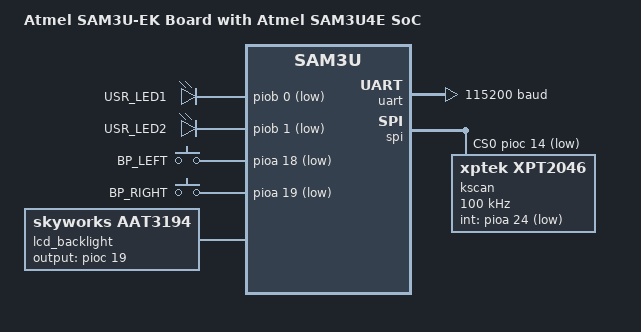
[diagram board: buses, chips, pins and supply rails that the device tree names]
/*
 * Copyright (c) 2023 Chen Xingyu <hi@xingrz.me>
 * SPDX-License-Identifier: Apache-2.0
 */

/dts-v1/;

#include <atmel/sam3u4e.dtsi>
#include "sam3u_ek-pinctrl.dtsi"

/ {
	model = "Atmel SAM3U-EK Board with Atmel SAM3U4E SoC";
	compatible = "atmel,sam3u_ek";

	aliases {
		led0 = &usr_led1;
		led1 = &usr_led2;
		sw0 = &bp_left;
		sw1 = &bp_right;
		lcd-backlight = &lcd_backlight;
	};

	chosen {
		zephyr,console = &uart;
		zephyr,shell-uart = &uart;
		zephyr,sram = &sram0;
		zephyr,flash = &flash0;
		zephyr,keyboard-scan = &kscan;
	};

	leds {
		compatible = "gpio-leds";

		usr_led1: usr_led1 {
			gpios = <&piob 0 GPIO_ACTIVE_LOW>;
			label = "USR_LED1";
		};

		usr_led2: usr_led2 {
			gpios = <&piob 1 GPIO_ACTIVE_LOW>;
			label = "USR_LED2";
		};
	};

	gpio_keys {
		compatible = "gpio-keys";

		bp_left: bp_left {
			gpios = <&pioa 18 GPIO_ACTIVE_LOW>;
			label = "BP_LEFT";
		};

		bp_right: bp_right {
			gpios = <&pioa 19 GPIO_ACTIVE_LOW>;
			label = "BP_RIGHT";
		};
	};

	lcd_backlight: aat3194 {
		compatible = "skyworks,aat3194";
		output-gpios = <&pioc 19 0>;
	};
};

&pioa {
	status = "okay";
};

&piob {
	status = "okay";
};

&pioc {
	status = "okay";
};

&uart {
	status = "okay";
	current-speed = <115200>;

	pinctrl-0 = <&uart_default>;
	pinctrl-names = "default";
};

&spi {
	status = "okay";

	pinctrl-0 = <&spi_default>;
	pinctrl-names = "default";

	cs-gpios = <&pioc 14 GPIO_ACTIVE_LOW>;

	kscan: ads7843@0 {
		compatible = "xptek,xpt2046";

		reg = <0>;
		spi-max-frequency = <DT_FREQ_K(100)>;

		int-gpios = <&pioa 24 GPIO_ACTIVE_LOW>;
		touchscreen-size-x = <240>;
		touchscreen-size-y = <320>;
		min-x = <0>;
		min-y = <0>;
		max-x = <4095>;
		max-y = <4095>;
	};
};
